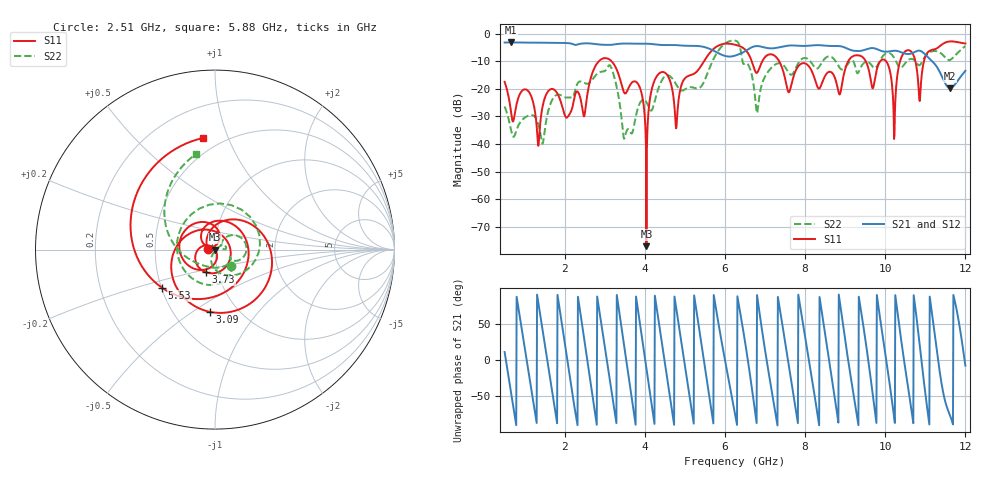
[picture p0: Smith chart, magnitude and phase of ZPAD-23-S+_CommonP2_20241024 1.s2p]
# GHZ S RI R 50
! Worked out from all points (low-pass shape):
!   1151 points, 500 MHz to 12 GHz, reference 50 ohm
!   highest |S21| = -3.20 dB at 660 MHz (marker M1); lowest = -19.8 dB at 11.62 GHz (marker M2)
!   |S21| within 3 dB of the highest: start of sweep to 5.716 GHz; 6.521 GHz to 9.207 GHz (2.686 GHz wide, 34.2 % of centre)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
!   lowest |S11| = -77.0 dB at 4.04 GHz (marker M3), VSWR 1.00, Z = 50 + j0.0107 ohm
!   |S11| at or under -10 dB: start of sweep to 2.854 GHz; 3.168 GHz to 5.477 GHz (2.309 GHz wide, 53.4 % of centre); 7.351 GHz to 9.077 GHz (1.725 GHz wide, 21 % of centre)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
!   |S22| runs from -39.9 to -2.5 dB; largest |S21 - S12| = 0
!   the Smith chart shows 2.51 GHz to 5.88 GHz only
!   S11 on the Smith chart (normalised r, x): 2.51 GHz: 0.92, +0.00; 3.09 GHz: 0.75, -0.59; 3.73 GHz: 0.88, -0.23; 5.53 GHz: 0.50, -0.25; 5.88 GHz: 0.40, +0.81
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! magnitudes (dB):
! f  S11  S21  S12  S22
! 500 MHz  -17.5  -3.3  -3.3  -26.4
! 660 MHz  -28.3  -3.2  -3.2  -34.9
! 1.45 GHz  -26.2  -3.3  -3.3  -39.9
! 2.42 GHz  -25.4  -3.6  -3.6  -17.4
! 2.51 GHz  -28.1  -3.5  -3.5  -18.0
! 3.09 GHz  -9.2  -4.1  -4.1  -11.7
! 3.48 GHz  -21.3  -3.6  -3.6  -38.1
! 3.73 GHz  -17.3  -3.7  -3.7  -33.4
! 4.04 GHz  -77.0  -3.7  -3.7  -24.8
! 4.34 GHz  -14.7  -4.1  -4.1  -19.8
! 4.78 GHz  -34.3  -4.2  -4.2  -18.4
! 5.53 GHz  -8.8  -5.1  -5.1  -15.6
! 5.88 GHz  -4.1  -7.4  -7.4  -5.3
! 6.25 GHz  -4.0  -8.0  -8.0  -2.5
! 6.8 GHz  -14.2  -4.5  -4.5  -28.9
! 8.17 GHz  -13.7  -4.3  -4.3  -10.8
! 10.09 GHz  -12.1  -6.5  -6.5  -7.0
! 10.22 GHz  -38.2  -6.2  -6.2  -8.7
! 10.48 GHz  -6.7  -7.2  -7.2  -11.1
! 10.86 GHz  -24.4  -6.2  -6.2  -11.4
! 11.62 GHz  -2.8  -19.8  -19.8  -9.6
! 12 GHz  -3.6  -13.5  -13.5  -4.5
